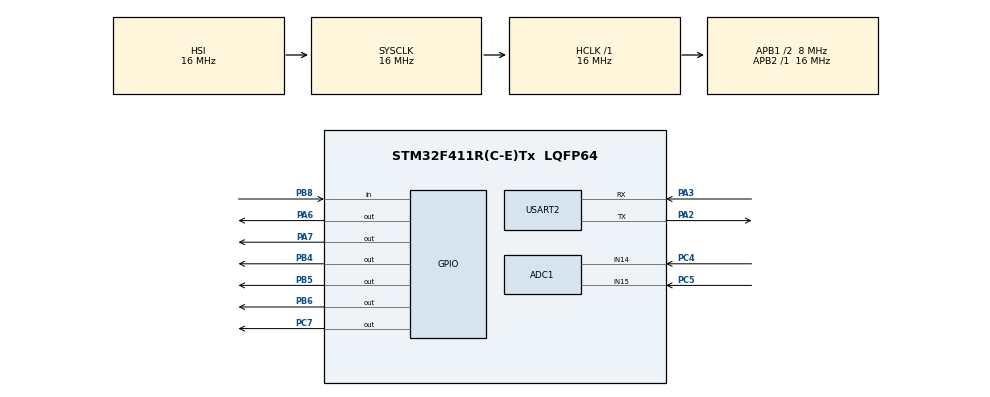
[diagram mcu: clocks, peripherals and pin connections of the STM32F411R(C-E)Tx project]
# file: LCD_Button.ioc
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ADC1.Channel-2\#ChannelRegularConversion=ADC_CHANNEL_14
ADC1.NbrOfConversionFlag=1
ADC1.Rank-2\#ChannelRegularConversion=1
ADC1.SamplingTime-2\#ChannelRegularConversion=ADC_SAMPLETIME_3CYCLES
ADC1.master=1
Mcu.Family=STM32F4
Mcu.Name=STM32F411R(C-E)Tx
Mcu.Package=LQFP64
NVIC.PriorityGroup=NVIC_PRIORITYGROUP_4
PA2.Mode=Asynchronous
PA2.Signal=USART2_TX
PA3.Mode=Asynchronous
PA3.Signal=USART2_RX
PA6.Signal=GPIO_Output
PA7.Signal=GPIO_Output
PB4.Signal=GPIO_Output
PB5.Signal=GPIO_Output
PB6.Signal=GPIO_Output
PB8.Signal=GPIO_Input
PC4.Signal=ADCx_IN14
PC5.Signal=ADCx_IN15
PC7.Signal=GPIO_Output
ProjectManager.HeapSize=0x200
ProjectManager.StackSize=0x400
ProjectManager.TargetToolchain=STM32CubeIDE
RCC.48MHZClocksFreq_Value=23040000
RCC.AHBFreq_Value=16000000
RCC.APB1CLKDivider=RCC_HCLK_DIV2
RCC.APB1Freq_Value=8000000
RCC.APB1TimFreq_Value=16000000
RCC.APB2Freq_Value=16000000
RCC.APB2TimFreq_Value=16000000
RCC.CortexFreq_Value=16000000
RCC.HCLKFreq_Value=16000000
RCC.HSE_VALUE=25000000
RCC.HSI_VALUE=16000000
RCC.LSE_VALUE=32768
RCC.PLLM=25
RCC.PLLN=144
RCC.SYSCLKFreq_VALUE=16000000
RCC.VCOOutputFreq_Value=92160000
SH.ADCx_IN14.0=ADC1_IN14,IN14
SH.ADCx_IN15.0=ADC1_IN15,IN15
TIM2.Period=65535
USART2.VirtualMode=VM_ASYNC
VP_TIM2_VS_ClockSourceINT.Mode=Internal
board=custom

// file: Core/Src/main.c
/* USER CODE BEGIN Header */
/**
  ******************************************************************************
  * @file           : main.c
  * @brief          : Main program body
  ******************************************************************************
  * @attention
  *
  * Copyright (c) 2022 STMicroelectronics.
  * All rights reserved.
  *
  * This software is licensed under terms that can be found in the LICENSE file
  * in the root directory of this software component.
  * If no LICENSE file comes with this software, it is provided AS-IS.
  *
  ******************************************************************************
  */
/* USER CODE END Header */
#include "main.h"

/* USER CODE BEGIN Includes */
#include "LCD.h"
#include <stdlib.h>
#include <stdio.h>
#include <string.h>
/* USER CODE END Includes */

/* USER CODE BEGIN PD */
#define DELAY 700
#define MAX 6
#define BUFFER_SIZE 64 // BUFFER_SIZE = 64
#define TIMEOUT 0xFF
/* USER CODE END PD */

ADC_HandleTypeDef hadc1;

TIM_HandleTypeDef htim2;

UART_HandleTypeDef huart2;

void SystemClock_Config(void);
static void MX_GPIO_Init(void);
static void MX_TIM2_Init(void);
static void MX_ADC1_Init(void);
static void MX_USART2_UART_Init(void);

int main(void)
{
  /* USER CODE BEGIN 1 */
  int y = 0;
  int ADC_wert = 0;
  char buf[BUFFER_SIZE];
  /* USER CODE END 1 */

  /* MCU Configuration--------------------------------------------------------*/

  /* Reset of all peripherals, Initializes the Flash interface and the Systick. */
  HAL_Init();

  /* Configure the system clock */
  SystemClock_Config();

  /* Initialize all configured peripherals */
  MX_GPIO_Init();
  MX_TIM2_Init();
  MX_ADC1_Init();
  MX_USART2_UART_Init();
  /* USER CODE BEGIN 2 */
  // Lcd_PortType ports[] = { D4_GPIO_Port, D5_GPIO_Port, D6_GPIO_Port, D7_GPIO_Port };
  Lcd_PortType ports[] = { GPIOC, GPIOB, GPIOA, GPIOA };
  // Lcd_PinType pins[] = {D4_Pin, D5_Pin, D6_Pin, D7_Pin};
  Lcd_PinType pins[] = {GPIO_PIN_7, GPIO_PIN_6, GPIO_PIN_7, GPIO_PIN_6};
  Lcd_HandleTypeDef lcd;
  // Lcd_create(ports, pins, RS_GPIO_Port, RS_Pin, EN_GPIO_Port, EN_Pin, LCD_4_BIT_MODE);
  lcd = Lcd_create(ports, pins, GPIOB, GPIO_PIN_5, GPIOB, GPIO_PIN_4, LCD_4_BIT_MODE);

	  Lcd_cursor(&lcd, 0,3);
	  Lcd_string(&lcd, "-Ahmed Abdo");
//    for ( int x= 1; x != 0 ; x++ )
//    {
//	  HAL_ADC_Start(&hadc1);
//	  while(HAL_ADC_GetState(&hadc1) & HAL_ADC_STATE_BUSY);
//	  y = HAL_ADC_GetValue(&hadc1);
//      Lcd_cursor(&lcd, 1,7);
//      Lcd_int(&lcd, y);
//      HAL_Delay (300);
//    }
  /* USER CODE END 2 */

  /* Infinite loop */
  /* USER CODE BEGIN WHILE */
  while (1)
  {
	  // Auslesen des ADC
//	  HAL_ADC_Start(&hadc1);
//	  HAL_ADC_PollForConversion(&hadc1, HAL_MAX_DELAY);
//	  ADC_wert = HAL_ADC_GetValue(&hadc1);
//	  Lcd_cursor(&lcd, 1,7);
//	  Lcd_int(&lcd, ADC_wert);
//	  sprintf(buf, "%d \r\n",ADC_wert);	// Ausgabe für den Serial Port
//	  HAL_UART_Transmit(&huart2, buf, strlen(buf), TIMEOUT);  // TIMEOUT = 0xFF //setzen des Serial Ports
//	  y++;
//	  HAL_Delay(200);
// Button loop starts
	  if(HAL_GPIO_ReadPin (GPIOB, GPIO_PIN_8))
	  {
		  // BUTTON PRESSED
		  Lcd_cursor(&lcd, 0,3);
		  Lcd_string(&lcd, "Released");
	  }
	  else
	  {
		  // BUTTON NOT PRESSED
		  Lcd_cursor(&lcd, 0,3);
		  Lcd_string(&lcd, "Pressed!");
	  }
// Button loop ends
    /* USER CODE END WHILE */

  }
}

void SystemClock_Config(void)
{
  RCC_OscInitTypeDef RCC_OscInitStruct = {0};
  RCC_ClkInitTypeDef RCC_ClkInitStruct = {0};

  /** Configure the main internal regulator output voltage
  */
  __HAL_RCC_PWR_CLK_ENABLE();
  __HAL_PWR_VOLTAGESCALING_CONFIG(PWR_REGULATOR_VOLTAGE_SCALE1);

  /** Initializes the RCC Oscillators according to the specified parameters
  * in the RCC_OscInitTypeDef structure.
  */
  RCC_OscInitStruct.OscillatorType = RCC_OSCILLATORTYPE_HSI;
  RCC_OscInitStruct.HSIState = RCC_HSI_ON;
  RCC_OscInitStruct.HSICalibrationValue = RCC_HSICALIBRATION_DEFAULT;
  RCC_OscInitStruct.PLL.PLLState = RCC_PLL_NONE;
  if (HAL_RCC_OscConfig(&RCC_OscInitStruct) != HAL_OK)
  {
    Error_Handler();
  }

  /** Initializes the CPU, AHB and APB buses clocks
  */
  RCC_ClkInitStruct.ClockType = RCC_CLOCKTYPE_HCLK|RCC_CLOCKTYPE_SYSCLK
                              |RCC_CLOCKTYPE_PCLK1|RCC_CLOCKTYPE_PCLK2;
  RCC_ClkInitStruct.SYSCLKSource = RCC_SYSCLKSOURCE_HSI;
  RCC_ClkInitStruct.AHBCLKDivider = RCC_SYSCLK_DIV1;
  RCC_ClkInitStruct.APB1CLKDivider = RCC_HCLK_DIV2;
  RCC_ClkInitStruct.APB2CLKDivider = RCC_HCLK_DIV1;

  if (HAL_RCC_ClockConfig(&RCC_ClkInitStruct, FLASH_LATENCY_0) != HAL_OK)
  {
    Error_Handler();
  }
}

static void MX_ADC1_Init(void)
{

  ADC_ChannelConfTypeDef sConfig = {0};

  /** Configure the global features of the ADC (Clock, Resolution, Data Alignment and number of conversion)
  */
  hadc1.Instance = ADC1;
  hadc1.Init.ClockPrescaler = ADC_CLOCK_SYNC_PCLK_DIV2;
  hadc1.Init.Resolution = ADC_RESOLUTION_12B;
  hadc1.Init.ScanConvMode = DISABLE;
  hadc1.Init.ContinuousConvMode = DISABLE;
  hadc1.Init.DiscontinuousConvMode = DISABLE;
  hadc1.Init.ExternalTrigConvEdge = ADC_EXTERNALTRIGCONVEDGE_NONE;
  hadc1.Init.ExternalTrigConv = ADC_SOFTWARE_START;
  hadc1.Init.DataAlign = ADC_DATAALIGN_RIGHT;
  hadc1.Init.NbrOfConversion = 1;
  hadc1.Init.DMAContinuousRequests = DISABLE;
  hadc1.Init.EOCSelection = ADC_EOC_SINGLE_CONV;
  if (HAL_ADC_Init(&hadc1) != HAL_OK)
  {
    Error_Handler();
  }

  /** Configure for the selected ADC regular channel its corresponding rank in the sequencer and its sample time.
  */
  sConfig.Channel = ADC_CHANNEL_14;
  sConfig.Rank = 1;
  sConfig.SamplingTime = ADC_SAMPLETIME_3CYCLES;
  if (HAL_ADC_ConfigChannel(&hadc1, &sConfig) != HAL_OK)
  {
    Error_Handler();
  }

}

static void MX_TIM2_Init(void)
{

  TIM_ClockConfigTypeDef sClockSourceConfig = {0};
  TIM_MasterConfigTypeDef sMasterConfig = {0};

  htim2.Instance = TIM2;
  htim2.Init.Prescaler = 0;
  htim2.Init.CounterMode = TIM_COUNTERMODE_UP;
  htim2.Init.Period = 65535;
  htim2.Init.ClockDivision = TIM_CLOCKDIVISION_DIV1;
  htim2.Init.AutoReloadPreload = TIM_AUTORELOAD_PRELOAD_DISABLE;
  if (HAL_TIM_Base_Init(&htim2) != HAL_OK)
  {
    Error_Handler();
  }
  sClockSourceConfig.ClockSource = TIM_CLOCKSOURCE_INTERNAL;
  if (HAL_TIM_ConfigClockSource(&htim2, &sClockSourceConfig) != HAL_OK)
  {
    Error_Handler();
  }
  sMasterConfig.MasterOutputTrigger = TIM_TRGO_RESET;
  sMasterConfig.MasterSlaveMode = TIM_MASTERSLAVEMODE_DISABLE;
  if (HAL_TIMEx_MasterConfigSynchronization(&htim2, &sMasterConfig) != HAL_OK)
  {
    Error_Handler();
  }

}

static void MX_USART2_UART_Init(void)
{

  huart2.Instance = USART2;
  huart2.Init.BaudRate = 115200;
  huart2.Init.WordLength = UART_WORDLENGTH_8B;
  huart2.Init.StopBits = UART_STOPBITS_1;
  huart2.Init.Parity = UART_PARITY_NONE;
  huart2.Init.Mode = UART_MODE_TX_RX;
  huart2.Init.HwFlowCtl = UART_HWCONTROL_NONE;
  huart2.Init.OverSampling = UART_OVERSAMPLING_16;
  if (HAL_UART_Init(&huart2) != HAL_OK)
  {
    Error_Handler();
  }

}

static void MX_GPIO_Init(void)
{
  GPIO_InitTypeDef GPIO_InitStruct = {0};

  /* GPIO Ports Clock Enable */
  __HAL_RCC_GPIOA_CLK_ENABLE();
  __HAL_RCC_GPIOC_CLK_ENABLE();
  __HAL_RCC_GPIOB_CLK_ENABLE();

  /*Configure GPIO pin Output Level */
  HAL_GPIO_WritePin(GPIOA, GPIO_PIN_6|GPIO_PIN_7, GPIO_PIN_RESET);

  /*Configure GPIO pin Output Level */
  HAL_GPIO_WritePin(GPIOC, GPIO_PIN_7, GPIO_PIN_RESET);

  /*Configure GPIO pin Output Level */
  HAL_GPIO_WritePin(GPIOB, GPIO_PIN_4|GPIO_PIN_5|GPIO_PIN_6, GPIO_PIN_RESET);

  /*Configure GPIO pins : PA6 PA7 */
  GPIO_InitStruct.Pin = GPIO_PIN_6|GPIO_PIN_7;
  GPIO_InitStruct.Mode = GPIO_MODE_OUTPUT_PP;
  GPIO_InitStruct.Pull = GPIO_NOPULL;
  GPIO_InitStruct.Speed = GPIO_SPEED_FREQ_LOW;
  HAL_GPIO_Init(GPIOA, &GPIO_InitStruct);

  /*Configure GPIO pin : PC7 */
  GPIO_InitStruct.Pin = GPIO_PIN_7;
  GPIO_InitStruct.Mode = GPIO_MODE_OUTPUT_PP;
  GPIO_InitStruct.Pull = GPIO_NOPULL;
  GPIO_InitStruct.Speed = GPIO_SPEED_FREQ_LOW;
  HAL_GPIO_Init(GPIOC, &GPIO_InitStruct);

  /*Configure GPIO pins : PB4 PB5 PB6 */
  GPIO_InitStruct.Pin = GPIO_PIN_4|GPIO_PIN_5|GPIO_PIN_6;
  GPIO_InitStruct.Mode = GPIO_MODE_OUTPUT_PP;
  GPIO_InitStruct.Pull = GPIO_NOPULL;
  GPIO_InitStruct.Speed = GPIO_SPEED_FREQ_LOW;
  HAL_GPIO_Init(GPIOB, &GPIO_InitStruct);

  /*Configure GPIO pin : PB8 */
  GPIO_InitStruct.Pin = GPIO_PIN_8;
  GPIO_InitStruct.Mode = GPIO_MODE_INPUT;
  GPIO_InitStruct.Pull = GPIO_NOPULL;
  HAL_GPIO_Init(GPIOB, &GPIO_InitStruct);

}

void Error_Handler(void)
{
  __disable_irq();
  while (1)
  {
  }
}
